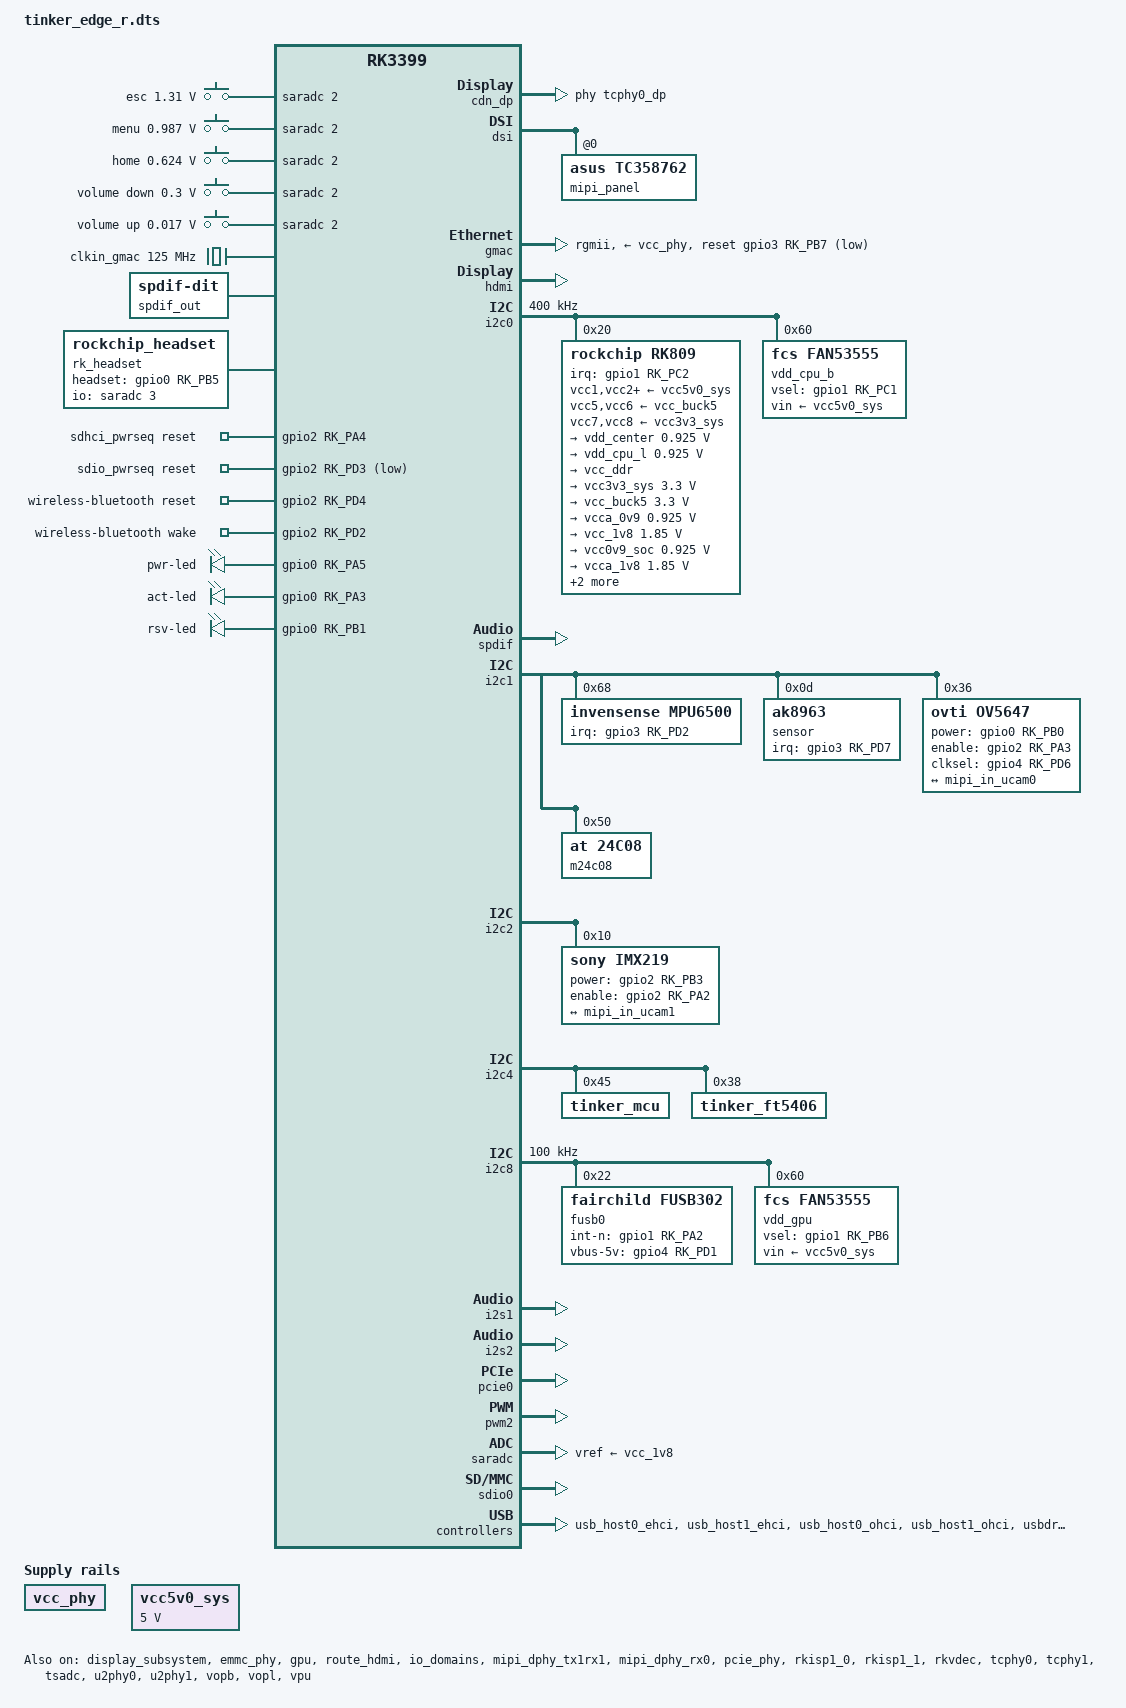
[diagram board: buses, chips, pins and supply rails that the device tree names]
// SPDX-License-Identifier: (GPL-2.0+ OR MIT)
// Copyright (c) 2018 Fuzhou Rockchip Electronics Co., Ltd

/dts-v1/;
#include <dt-bindings/gpio/gpio.h>
#include <dt-bindings/pinctrl/rockchip.h>
#include <dt-bindings/input/input.h>
#include <dt-bindings/display/drm_mipi_dsi.h>
#include <dt-bindings/sensor-dev.h>
#include <dt-bindings/pwm/pwm.h>
#include "rk3399pro.dtsi"
#include "rk3399-linux.dtsi"
#include "rk3399-opp.dtsi"
#include "rk3399-vop-clk-set.dtsi"

/ {
	compatible = "rockchip,rk3399pro-evb-v11-linux", "rockchip,rk3399pro";

	adc-keys {
		compatible = "adc-keys";
		io-channels = <&saradc 2>;
		io-channel-names = "buttons";
		poll-interval = <100>;
		keyup-threshold-microvolt = <1800000>;

		esc-key {
			linux,code = <KEY_ESC>;
			label = "esc";
			press-threshold-microvolt = <1310000>;
		};

		menu-key {
			linux,code = <KEY_MENU>;
			label = "menu";
			press-threshold-microvolt = <987000>;
		};

		home-key {
			linux,code = <KEY_HOME>;
			label = "home";
			press-threshold-microvolt = <624000>;
		};

		vol-down-key {
			linux,code = <KEY_VOLUMEDOWN>;
			label = "volume down";
			press-threshold-microvolt = <300000>;
		};

		vol-up-key {
			linux,code = <KEY_VOLUMEUP>;
			label = "volume up";
			press-threshold-microvolt = <17000>;
		};
	};

	clkin_gmac: external-gmac-clock {
		compatible = "fixed-clock";
		clock-frequency = <125000000>;
		clock-output-names = "clkin_gmac";
		#clock-cells = <0>;
	};

	fiq_debugger: fiq-debugger {
		compatible = "rockchip,fiq-debugger";
		rockchip,serial-id = <0>;
		rockchip,wake-irq = <0>;
		rockchip,irq-mode-enable = <0>;  /* If enable uart uses irq instead of fiq */
		rockchip,baudrate = <115200>;  /* Only 115200 and 1500000 */
		pinctrl-names = "default";
		pinctrl-0 = <&uart0_xfer>;
		interrupts = <GIC_SPI 150 IRQ_TYPE_LEVEL_HIGH 0>;
	};

	rk809-sound {
		compatible = "simple-audio-card";
		simple-audio-card,format = "i2s";
		simple-audio-card,name = "rockchip,rk809";
		simple-audio-card,mclk-fs = <256>;
		simple-audio-card,widgets =
			"Microphone", "Mic Jack",
			"Headphone", "Headphone Jack";
		simple-audio-card,routing =
			"Mic Jack", "MICBIAS1",
			"IN1P", "Mic Jack",
			"Headphone Jack", "HPOL",
			"Headphone Jack", "HPOR";
		simple-audio-card,cpu {
			sound-dai = <&i2s1>;
		};
		simple-audio-card,codec {
			sound-dai = <&rk809_codec>;
		};
	};

	spdif-sound {
		status = "okay";
		compatible = "simple-audio-card";
		simple-audio-card,name = "rockchip,spdif";
		simple-audio-card,cpu {
			sound-dai = <&spdif>;
		};
		simple-audio-card,codec {
			sound-dai = <&spdif_out>;
		};
	};

	spdif_out: spdif-out {
		status = "okay";
		compatible = "linux,spdif-dit";
		#sound-dai-cells = <0>;
	};

	hdmi_sound: hdmi-sound {
		status = "okay";
		compatible = "simple-audio-card";
		simple-audio-card,format = "i2s";
		simple-audio-card,mclk-fs = <256>;
		simple-audio-card,name = "rockchip,hdmi";

		simple-audio-card,cpu {
			sound-dai = <&i2s2>;
		};
		simple-audio-card,codec {
			sound-dai = <&hdmi>;
		};
	};

	rk_headset {
		compatible = "rockchip_headset";
		headset_gpio = <&gpio0 RK_PB5 GPIO_ACTIVE_HIGH>;
		pinctrl-names = "default";
		pinctrl-0 = <&hp_det>;
		io-channels = <&saradc 3>;
	};

	sdhci_pwrseq: sdhci-pwrseq {
		compatible = "mmc-pwrseq-emmc";
		pinctrl-0 = <&sdhci_reset>;
		pinctrl-names = "default";
		reset-gpios = <&gpio2 RK_PA4 GPIO_ACTIVE_HIGH>;
	};

	sdio_pwrseq: sdio-pwrseq {
		compatible = "mmc-pwrseq-simple";
		clocks = <&rk809 1>;
		clock-names = "ext_clock";
		pinctrl-names = "default";
		pinctrl-0 = <&wifi_enable_h>;

		/*
		 * On the module itself this is one of these (depending
		 * on the actual card populated):
		 * - SDIO_RESET_L_WL_REG_ON
		 * - PDN (power down when low)
		 */
		reset-gpios = <&gpio2 RK_PD3 GPIO_ACTIVE_LOW>;
	};

	vcc_phy: vcc-phy-regulator {
		compatible = "regulator-fixed";
		regulator-name = "vcc_phy";
		regulator-always-on;
		regulator-boot-on;
	};

	vcc5v0_sys: vccsys {
		compatible = "regulator-fixed";
		regulator-name = "vcc5v0_sys";
		regulator-always-on;
		regulator-boot-on;
		regulator-min-microvolt = <5000000>;
		regulator-max-microvolt = <5000000>;
	};

	wireless-wlan {
		compatible = "wlan-platdata";
		wifi_chip_type = "rtl8822be";
		status = "okay";
	};

	wireless-bluetooth {
		compatible = "bluetooth-platdata";
		clocks = <&rk809 1>;
		clock-names = "ext_clock";
		//uart_rts_gpios = <&gpio2 RK_PC3 GPIO_ACTIVE_LOW>;
		pinctrl-names = "default", "rts_gpio", <&bt_irq_gpio>;
		pinctrl-0 = <&uart0_rts>;
		//pinctrl-1 = <&uart0_gpios>;
		BT,reset_gpio    = <&gpio2 RK_PD4 GPIO_ACTIVE_HIGH>;
		BT,wake_gpio     = <&gpio2 RK_PD2 GPIO_ACTIVE_HIGH>;
		//BT,wake_host_irq = <&gpio0 RK_PA5 GPIO_ACTIVE_HIGH>;
		status = "okay";
	};

	gpio-leds {
		compatible = "gpio-leds";

		pwr-led {
			gpios = <&gpio0 RK_PA5 GPIO_ACTIVE_HIGH>;
			linux,default-trigger = "default-on";
			retain-state-suspended = <1>;
		};

		act-led {
			gpios = <&gpio0 RK_PA3 GPIO_ACTIVE_HIGH>;
			linux,default-trigger="mmc1";
		};

		rsv-led {
			gpios = <&gpio0 RK_PB1 GPIO_ACTIVE_HIGH>;
			linux,default-trigger="none";
		};
	};

};

&cdn_dp {
	status = "okay";
	extcon = <&fusb0>;
	phys = <&tcphy0_dp>;
};

&dsi {
	status = "okay";
	mipi_panel: mipi-panel {
		compatible ="asus,tc358762";
		reg = <0>;
		status = "okay";
	};
};

&dsi_in_vopb {
	status = "disabled";
};

&cpu_l0 {
	cpu-supply = <&vdd_cpu_l>;
};

&cpu_l1 {
	cpu-supply = <&vdd_cpu_l>;
};

&cpu_l2 {
	cpu-supply = <&vdd_cpu_l>;
};

&cpu_l3 {
	cpu-supply = <&vdd_cpu_l>;
};

&cpu_b0 {
	cpu-supply = <&vdd_cpu_b>;
};

&cpu_b1 {
	cpu-supply = <&vdd_cpu_b>;
};

&display_subsystem {
	status = "okay";
};

&dmc {
	status = "disabled";
	center-supply = <&vdd_center>;
	upthreshold = <40>;
	downdifferential = <20>;
	system-status-freq = <
		/*system status         freq(KHz)*/
		SYS_STATUS_NORMAL       856000
		SYS_STATUS_REBOOT       416000
		SYS_STATUS_SUSPEND      416000
		SYS_STATUS_VIDEO_1080P  416000
		SYS_STATUS_VIDEO_4K     856000
		SYS_STATUS_VIDEO_4K_10B 856000
		SYS_STATUS_PERFORMANCE  856000
		SYS_STATUS_BOOST        856000
		SYS_STATUS_DUALVIEW     856000
		SYS_STATUS_ISP          856000
	>;
	vop-pn-msch-readlatency = <
	/* plane_number  readlatency */
		0	0
		4	0x20
	>;
	vop-bw-dmc-freq = <
	/* min_bw(MB/s) max_bw(MB/s) freq(KHz) */
		763     1893     416000
		3013    99999    856000
	>;
	auto-min-freq = <416000>;
};

&dmc_opp_table {
	compatible = "operating-points-v2";

	opp-200000000 {
		opp-hz = /bits/ 64 <200000000>;
		opp-microvolt = <900000>;
		status = "disabled";
	};
	opp-300000000 {
		opp-hz = /bits/ 64 <300000000>;
		opp-microvolt = <900000>;
		status = "disabled";
	};
	opp-400000000 {
		opp-hz = /bits/ 64 <400000000>;
		opp-microvolt = <900000>;
		status = "disabled";
	};
	opp-416000000 {
		opp-hz = /bits/ 64 <416000000>;
		opp-microvolt = <900000>;
	};
	opp-528000000 {
		opp-hz = /bits/ 64 <528000000>;
		opp-microvolt = <900000>;
		status = "disabled";
	};
	opp-600000000 {
		opp-hz = /bits/ 64 <600000000>;
		opp-microvolt = <900000>;
		status = "disabled";
	};
	opp-800000000 {
		opp-hz = /bits/ 64 <800000000>;
		opp-microvolt = <900000>;
		status = "disabled";
	};
	opp-856000000 {
		opp-hz = /bits/ 64 <856000000>;
		opp-microvolt = <900000>;
	};
	opp-928000000 {
		opp-hz = /bits/ 64 <928000000>;
		opp-microvolt = <900000>;
		status = "disabled";
	};
	opp-1056000000 {
		opp-hz = /bits/ 64 <1056000000>;
		opp-microvolt = <900000>;
		status = "disabled";
	};
};

&dp_in_vopl {
	status = "disabled";
};

&emmc_phy {
	status = "okay";
};

&gmac {
	phy-supply = <&vcc_phy>;
	phy-mode = "rgmii";
	clock_in_out = "input";
	snps,reset-gpio = <&gpio3 RK_PB7 GPIO_ACTIVE_LOW>;
	snps,reset-active-low;
	snps,reset-delays-us = <0 16000 72000>;
	assigned-clocks = <&cru SCLK_RMII_SRC>;
	assigned-clock-parents = <&clkin_gmac>;
	pinctrl-names = "default";
	pinctrl-0 = <&rgmii_pins>;
	tx_delay = <0x23>;
	rx_delay = <0x22>;
	status = "okay";
};

&gpu {
	status = "okay";
	mali-supply = <&vdd_gpu>;
};

&hdmi {
	status = "okay";
	#sound-dai-cells = <0>;
	rockchip,phy-table =
		<74250000  0x8009 0x0004 0x0272>,
		<165000000 0x802b 0x0004 0x0209>,
		<297000000 0x8039 0x0005 0x028d>,
		<594000000 0x8039 0x0000 0x00f6>,
		<000000000 0x0000 0x0000 0x0000>;
};

&hdmi_in_vopl {
	status = "disabled";
};

&route_hdmi {
    status = "okay";
    connect = <&vopb_out_hdmi>;
};

&i2c0 {
	status = "okay";
	i2c-scl-rising-time-ns = <180>;
	i2c-scl-falling-time-ns = <30>;
	clock-frequency = <400000>;

	rk809: pmic@20 {
		compatible = "rockchip,rk809";
		reg = <0x20>;
		interrupt-parent = <&gpio1>;
		interrupts = <RK_PC2 IRQ_TYPE_LEVEL_LOW>;
		pinctrl-names = "default", "pmic-sleep",
				"pmic-power-off", "pmic-reset";
		pinctrl-0 = <&pmic_int_l>;
		pinctrl-1 = <&soc_slppin_slp>, <&rk809_slppin_slp>;
		pinctrl-2 = <&soc_slppin_gpio>, <&rk809_slppin_pwrdn>;
		pinctrl-3 = <&soc_slppin_gpio>, <&rk809_slppin_null>;
		rockchip,system-power-controller;
		pmic-reset-func = <0>;
		wakeup-source;
		#clock-cells = <1>;
		clock-output-names = "rk808-clkout1", "rk808-clkout2";

		vcc1-supply = <&vcc5v0_sys>;
		vcc2-supply = <&vcc5v0_sys>;
		vcc3-supply = <&vcc5v0_sys>;
		vcc4-supply = <&vcc5v0_sys>;
		vcc5-supply = <&vcc_buck5>;
		vcc6-supply = <&vcc_buck5>;
		vcc7-supply = <&vcc3v3_sys>;
		vcc8-supply = <&vcc3v3_sys>;
		vcc9-supply = <&vcc5v0_sys>;

		pwrkey {
			status = "okay";
		};

		rtc {
			status = "okay";
		};

		pinctrl_rk8xx: pinctrl_rk8xx {
			gpio-controller;
			#gpio-cells = <2>;

			rk809_slppin_null: rk809_slppin_null {
				pins = "gpio_slp";
				function = "pin_fun0";
			};

			rk809_slppin_slp: rk809_slppin_slp {
				pins = "gpio_slp";
				function = "pin_fun1";
			};

			rk809_slppin_pwrdn: rk809_slppin_pwrdn {
				pins = "gpio_slp";
				function = "pin_fun2";
			};

			rk809_slppin_rst: rk809_slppin_rst {
				pins = "gpio_slp";
				function = "pin_fun3";
			};
		};

		regulators {
			vdd_center: DCDC_REG1 {
				regulator-always-on;
				regulator-boot-on;
				regulator-min-microvolt = <925000>;
				regulator-max-microvolt = <925000>;
				regulator-initial-mode = <0x2>;
				regulator-name = "vdd_center";
				regulator-state-mem {
					regulator-off-in-suspend;
					regulator-suspend-microvolt = <925000>;
				};
			};

			vdd_cpu_l: DCDC_REG2 {
				regulator-always-on;
				regulator-boot-on;
				regulator-min-microvolt = <925000>;
				regulator-max-microvolt = <925000>;
				regulator-ramp-delay = <6001>;
				regulator-initial-mode = <0x2>;
				regulator-name = "vdd_cpu_l";
				regulator-state-mem {
					regulator-off-in-suspend;
				};
			};

			vcc_ddr: DCDC_REG3 {
				regulator-always-on;
				regulator-boot-on;
				regulator-name = "vcc_ddr";
				regulator-initial-mode = <0x2>;
				regulator-state-mem {
					regulator-on-in-suspend;
				};
			};

			vcc3v3_sys: DCDC_REG4 {
				regulator-always-on;
				regulator-boot-on;
				regulator-min-microvolt = <3300000>;
				regulator-max-microvolt = <3300000>;
				regulator-initial-mode = <0x2>;
				regulator-name = "vcc3v3_sys";
				regulator-state-mem {
					regulator-on-in-suspend;
					regulator-suspend-microvolt = <3300000>;
				};
			};

			vcc_buck5: DCDC_REG5 {
				regulator-always-on;
				regulator-boot-on;
				regulator-min-microvolt = <3300000>;
				regulator-max-microvolt = <3300000>;
				regulator-name = "vcc_buck5";
				regulator-state-mem {
					regulator-on-in-suspend;
					regulator-suspend-microvolt = <3300000>;
				};
			};

			vcca_0v9: LDO_REG1 {
				regulator-always-on;
				regulator-boot-on;
				regulator-min-microvolt = <925000>;
				regulator-max-microvolt = <925000>;
				regulator-name = "vcca_0v9";
				regulator-state-mem {
					regulator-off-in-suspend;
				};
			};

			vcc_1v8: LDO_REG2 {
				regulator-always-on;
				regulator-boot-on;
				regulator-min-microvolt = <1850000>;
				regulator-max-microvolt = <1850000>;

				regulator-name = "vcc_1v8";
				regulator-state-mem {
					regulator-on-in-suspend;
					regulator-suspend-microvolt = <1850000>;
				};
			};

			vcc0v9_soc: LDO_REG3 {
				regulator-always-on;
				regulator-boot-on;
				regulator-min-microvolt = <925000>;
				regulator-max-microvolt = <925000>;

				regulator-name = "vcc0v9_soc";
				regulator-state-mem {
					regulator-on-in-suspend;
					regulator-suspend-microvolt = <925000>;
				};
			};

			vcca_1v8: LDO_REG4 {
				regulator-always-on;
				regulator-boot-on;
				regulator-min-microvolt = <1850000>;
				regulator-max-microvolt = <1850000>;

				regulator-name = "vcca_1v8";
				regulator-state-mem {
					regulator-off-in-suspend;
				};
			};

			vdd1v5_dvp: LDO_REG5 {
				regulator-always-on;
				regulator-boot-on;
				regulator-min-microvolt = <1850000>;
				regulator-max-microvolt = <1850000>;

				regulator-name = "vdd1v5_dvp";
				regulator-state-mem {
					regulator-off-in-suspend;
				};
			};

			vcc_1v5: LDO_REG6 {
				regulator-always-on;
				regulator-boot-on;
				regulator-min-microvolt = <1550000>;
				regulator-max-microvolt = <1550000>;

				regulator-name = "vcc_1v5";
				regulator-state-mem {
					regulator-off-in-suspend;
				};
			};

			vcc_3v0: LDO_REG7 {
				regulator-always-on;
				regulator-boot-on;
				regulator-min-microvolt = <3075000>;
				regulator-max-microvolt = <3075000>;

				regulator-name = "vcc_3v0";
				regulator-state-mem {
					regulator-off-in-suspend;
				};
			};

			vccio_sd: LDO_REG8 {
				regulator-always-on;
				regulator-boot-on;
				regulator-min-microvolt = <1850000>;
				regulator-max-microvolt = <3375000>;

				regulator-name = "vccio_sd";
				regulator-state-mem {
					regulator-off-in-suspend;
				};
			};

			vcc_sd: LDO_REG9 {
				regulator-always-on;
				regulator-boot-on;
				regulator-min-microvolt = <3375000>;
				regulator-max-microvolt = <3375000>;

				regulator-name = "vcc_sd";
				regulator-state-mem {
					regulator-off-in-suspend;
				};
			};

			vcc5v0_usb: SWITCH_REG1 {
				regulator-min-microvolt = <5000000>;
				regulator-max-microvolt = <5000000>;

				regulator-name = "vcc5v0_usb";
				regulator-state-mem {
					regulator-on-in-suspend;
					regulator-suspend-microvolt = <5000000>;
				};
			};

			vccio_3v3: SWITCH_REG2 {
				regulator-always-on;
				regulator-boot-on;
				regulator-min-microvolt = <3300000>;
				regulator-max-microvolt = <3300000>;

				regulator-name = "vccio_3v3";
				regulator-state-mem {
					regulator-off-in-suspend;
				};
			};
		};

		rk809_codec: codec {
			#sound-dai-cells = <0>;
			compatible = "rockchip,rk809-codec", "rockchip,rk817-codec";
			clocks = <&cru SCLK_I2S_8CH_OUT>;
			clock-names = "mclk";
			pinctrl-names = "default";
			pinctrl-0 = <&i2s_8ch_mclk>;
			hp-volume = <20>;
			spk-volume = <3>;
			status = "okay";
		};
	};

	vdd_cpu_b: fan53555@60 {
		compatible = "fcs,fan53555";
		reg = <0x60>;
		vin-supply = <&vcc5v0_sys>;
		regulator-compatible = "fan53555-reg";
		pinctrl-0 = <&vsel1_gpio>;
		vsel-gpios = <&gpio1 RK_PC1 GPIO_ACTIVE_HIGH>;
		regulator-name = "vdd_cpu_b";
		regulator-min-microvolt = <925000>;
		regulator-max-microvolt = <925000>;
		regulator-ramp-delay = <1000>;
		fcs,suspend-voltage-selector = <1>;
		regulator-always-on;
		regulator-boot-on;
		regulator-initial-state = <3>;
		regulator-state-mem {
			regulator-off-in-suspend;
		};
	};

	bq25700: bq25700@6b {
		compatible = "ti,bq25703";
		reg = <0x6b>;
		extcon = <&fusb0>;
		interrupt-parent = <&gpio1>;
		interrupts = <RK_PA1 IRQ_TYPE_LEVEL_LOW>;
		pinctrl-names = "default";
		pinctrl-0 = <&charger_ok_int>;
		ti,charge-current = <1500000>;
		ti,max-charge-voltage = <8704000>;
		ti,max-input-voltage = <20000000>;
		ti,max-input-current = <6000000>;
		ti,input-current-sdp = <500000>;
		ti,input-current-dcp = <2000000>;
		ti,input-current-cdp = <2000000>;
		ti,input-current-dc = <2000000>;
		ti,minimum-sys-voltage = <6700000>;
		ti,otg-voltage = <5000000>;
		ti,otg-current = <500000>;
		ti,input-current = <500000>;
		pd-charge-only = <0>;
		status = "disabled";
	};
};

&spdif {
	status = "okay";
	pinctrl-0 = <&spdif_bus>;
	i2c-scl-rising-time-ns = <450>;
	i2c-scl-falling-time-ns = <15>;
	#sound-dai-cells = <0>;
};

&i2c1 {
	status = "okay";
	i2c-scl-rising-time-ns = <140>;
	i2c-scl-falling-time-ns = <30>;

	mpu6500@68 {
		status = "okay";
		compatible = "invensense,mpu6500";
		reg = <0x68>;
		irq-gpio = <&gpio3 RK_PD2 IRQ_TYPE_EDGE_RISING>;
		mpu-int_config = <0x10>;
		mpu-level_shifter = <0>;
		mpu-orientation = <0 1 0 1 0 0 0 0 1>;
		orientation-x= <1>;
		orientation-y= <0>;
		orientation-z= <0>;
		mpu-debug = <1>;
	};

	sensor@d {
		status = "okay";
		compatible = "ak8963";
		reg = <0x0d>;
		type = <SENSOR_TYPE_COMPASS>;
		irq-gpio = <&gpio3 RK_PD7 IRQ_TYPE_EDGE_RISING>;
		irq_enable = <0>;
		poll_delay_ms = <30>;
		layout = <3>;
	};

	ov5647: ov5647@36 {
		compatible = "ovti,ov5647";
		status = "okay";
		reg = <0x36>;
		clocks = <&cru SCLK_TESTCLKOUT2>;
		clock-names = "xvclk";

		/* conflict with csi-ctl-gpios */
		power-gpios = <&gpio0 RK_PB0 GPIO_ACTIVE_HIGH>;
		enable-gpios = <&gpio2 RK_PA3 GPIO_ACTIVE_HIGH>;
		clksel-gpios = <&gpio4 RK_PD6 GPIO_ACTIVE_HIGH>;
		pinctrl-names = "camera_default";
		pinctrl-0 = <&test_clkout2>;
		rockchip,camera-module-index = <0>;
		rockchip,camera-module-facing = "back";
		rockchip,camera-module-name = "RPi_v13";
		rockchip,camera-module-lens-name = "default";

		port {
			ucam_out0: endpoint {
				remote-endpoint = <&mipi_in_ucam0>;
				data-lanes = <1 2>;
			};
		};
	};

	m24c08@50 {
		compatible = "at,24c08";
		reg = <0x50>;
	};
};

&i2c2 {
	status = "okay";
	i2c-scl-rising-time-ns = <140>;
	i2c-scl-falling-time-ns = <30>;

	imx219: imx219@10 {
		compatible = "sony,imx219";
		status = "okay";
		reg = <0x10>;
		clocks = <&cru SCLK_CIF_OUT>;
		clock-names = "xvclk";

		/* conflict with csi-ctl-gpios */
		power-gpios = <&gpio2 RK_PB3 GPIO_ACTIVE_HIGH>;
		enable-gpios = <&gpio2 RK_PA2 GPIO_ACTIVE_HIGH>;
		rockchip,camera-module-index = <0>;
		rockchip,camera-module-facing = "back";
		rockchip,camera-module-name = "RPi_v21";
		rockchip,camera-module-lens-name = "default";

		port {
			ucam_out1: endpoint {
				remote-endpoint = <&mipi_in_ucam1>;
				data-lanes = <1 2>;
			};
		};
	};
};

&i2c4 {
	status = "okay";
	i2c-scl-rising-time-ns = <345>;
	i2c-scl-falling-time-ns = <11>;

	tinker_mcu: tinker_mcu@45 {
		compatible = "tinker_mcu";
		reg = <0x45>;
	};

	tinker_ft5406: tinker_ft5406@38 {
		compatible = "tinker_ft5406";
		reg = <0x38>;
	};
};

&i2c6 {
	status = "disable";
};

&i2c7 {
	status = "disable";
};

&i2c8 {
	status = "okay";
	i2c-scl-rising-time-ns = <345>;
	i2c-scl-falling-time-ns = <11>;
	clock-frequency = <100000>;

	fusb0: fusb30x@22 {
		compatible = "fairchild,fusb302";
		reg = <0x22>;
		pinctrl-names = "default";
		pinctrl-0 = <&fusb0_int>;
		int-n-gpios = <&gpio1 RK_PA2 GPIO_ACTIVE_HIGH>;
		vbus-5v-gpios = <&gpio4 RK_PD1 GPIO_ACTIVE_HIGH>;
		status = "okay";
	};

	vdd_gpu: fan53555@60 {
		compatible = "fcs,fan53555";
		reg = <0x60>;
		vin-supply = <&vcc5v0_sys>;
		regulator-compatible = "fan53555-reg";
		pinctrl-0 = <&vsel2_gpio>;
		vsel-gpios = <&gpio1 RK_PB6 GPIO_ACTIVE_HIGH>;
		regulator-name = "vdd_gpu";
		regulator-min-microvolt = <925000>;
		regulator-max-microvolt = <925000>;
		regulator-ramp-delay = <1000>;
		fcs,suspend-voltage-selector = <1>;
		regulator-always-on;
		regulator-boot-on;
		regulator-initial-state = <3>;
		regulator-state-mem {
			regulator-off-in-suspend;
		};
	};

};

&i2s1 {
	status = "okay";
	#sound-dai-cells = <0>;
};

&i2s2 {
	#sound-dai-cells = <0>;
	status = "okay";
};

&io_domains {
	status = "okay";
	bt656-supply = <&vcca_1v8>;
	audio-supply = <&vcca_1v8>;
	sdmmc-supply = <&vccio_sd>;
	gpio1830-supply = <&vcc_3v0>;
};

&isp0_mmu {
	status = "okay";
};

&isp1_mmu {
	status = "okay";
};

&mipi_dphy_tx1rx1 {
	status = "okay";

	ports {
		#address-cells = <1>;
		#size-cells = <0>;

		port@0 {
			reg = <0>;
			#address-cells = <1>;
			#size-cells = <0>;

			mipi_in_ucam1: endpoint@1 {
				reg = <1>;
				/* Unlinked camera */
				remote-endpoint = <&ucam_out1>;
				data-lanes = <1 2>;
			};
		};

		port@1 {
			reg = <1>;
			#address-cells = <1>;
			#size-cells = <0>;

			dphy_tx1rx1_out: endpoint@0 {
				reg = <0>;
				remote-endpoint = <&isp1_mipi_in>;
			};
		};
	};
};

&mipi_dphy_rx0 {
	status = "okay";

	ports {
		#address-cells = <1>;
		#size-cells = <0>;

		port@0 {
			reg = <0>;
			#address-cells = <1>;
			#size-cells = <0>;

			mipi_in_ucam0: endpoint@1 {
				reg = <1>;
				remote-endpoint = <&ucam_out0>;
				data-lanes = <1 2>;
			};
		};

		port@1 {
			reg = <1>;
			#address-cells = <1>;
			#size-cells = <0>;

			dphy_rx0_out: endpoint@0 {
				reg = <0>;
				remote-endpoint = <&isp0_mipi_in>;
			};
		};
	};
};

&pcie_phy {
	status = "okay";
};

&pcie0 {
	status = "okay";
};

&pmu_io_domains {
	status = "okay";
	pmu1830-supply = <&vcc_1v8>;
};

&pwm2 {
	status = "okay";
};

&rkisp1_0 {
	status = "okay";

	port {
		#address-cells = <1>;
		#size-cells = <0>;

		isp0_mipi_in: endpoint@0 {
			reg = <0>;
			remote-endpoint = <&dphy_rx0_out>;
		};
	};
};

&rkisp1_1 {
	status = "okay";

	port {
		#address-cells = <1>;
		#size-cells = <0>;

		isp1_mipi_in: endpoint@0 {
			reg = <0>;
			remote-endpoint = <&dphy_tx1rx1_out>;
		};
	};
};

&rkvdec {
	status = "okay";
	/* 0 means ion, 1 means drm */
	//allocator = <0>;
};

&rockchip_suspend {
	status = "okay";
	rockchip,sleep-debug-en = <1>;
	rockchip,sleep-mode-config = <
		(0
		| RKPM_SLP_ARMPD
		| RKPM_SLP_PERILPPD
		| RKPM_SLP_DDR_RET
		| RKPM_SLP_PLLPD
		| RKPM_SLP_CENTER_PD
		| RKPM_SLP_OSC_DIS
		| RKPM_SLP_AP_PWROFF
		)
	>;
	rockchip,wakeup-config = <RKPM_GPIO_WKUP_EN>;
	rockchip,pwm-regulator-config = <PWM2_REGULATOR_EN>;
	rockchip,power-ctrl =
		<&gpio1 RK_PC1 GPIO_ACTIVE_HIGH>,
		<&gpio1 RK_PB6 GPIO_ACTIVE_HIGH>;
};

&saradc {
	status = "okay";
	vref-supply = <&vcc_1v8>;
};

&sdhci {
	mmc-pwrseq = <&sdhci_pwrseq>;
};

&sdio0 {
	status = "okay";
};

&sdmmc {
	sd-uhs-sdr12;
	sd-uhs-sdr25;
	sd-uhs-sdr50;
	sd-uhs-sdr104;
};

&spi1 {
	status = "disable";
	max-freq = <48000000>; /* spi internal clk, don't modify */
	spi_dev@0 {
		compatible = "rockchip,spidev";
		reg = <0>;
		spi-max-frequency = <48000000>;
		spi-lsb-first;
	};
};

&spi5 {
	status = "disable";
	max-freq = <48000000>;   //spi internal clk, don't modify
	spi_dev@0 {
		compatible = "rockchip,spidev";
		reg = <0>;   //chip select  0:cs0  1:cs1
		id = <0>;
		spi-max-frequency = <48000000>;   //spi output clock
	};

};

&tcphy0 {
	extcon = <&fusb0>;
	status = "okay";
};

&tcphy1 {
	status = "okay";
};

&tsadc {
	rockchip,hw-tshut-mode = <1>; /* tshut mode 0:CRU 1:GPIO */
	rockchip,hw-tshut-polarity = <1>; /* tshut polarity 0:LOW 1:HIGH */
	status = "okay";
};

&u2phy0 {
	status = "okay";
	extcon = <&fusb0>;

	u2phy0_otg: otg-port {
		status = "okay";
	};

	u2phy0_host: host-port {
		phy-supply = <&vcc5v0_usb>;
		status = "okay";
	};
};

&u2phy1 {
	status = "okay";

	u2phy1_otg: otg-port {
		status = "okay";
	};

	u2phy1_host: host-port {
		phy-supply = <&vcc5v0_usb>;
		status = "okay";
	};
};

&uart0 {
	status = "disable";
};

&uart4 {
	status = "disable";
};

&usb_host0_ehci {
	status = "okay";
};

&usb_host1_ehci {
	status = "okay";
};
&usb_host0_ohci {
	status = "okay";
};

&usb_host1_ohci {
	status = "okay";
};

&usbdrd3_0 {
	extcon = <&fusb0>;
	status = "okay";
};

&usbdrd3_1 {
	status = "okay";
};

&usbdrd_dwc3_0 {
	status = "okay";
};

&usbdrd_dwc3_1 {
	status = "okay";
};

&vopb {
	status = "okay";
};

&vopb_mmu {
	status = "okay";
};

&vopl {
	status = "okay";
};

&vopl_mmu {
	status = "okay";
};

&vpu {
	status = "okay";
	/* 0 means ion, 1 means drm */
	//allocator = <0>;
};

&pinctrl {
	pinctrl-names = "default";
	pinctrl-0 = <&npu_ref_clk>;

	bq2570 {
		charger_ok_int: charger-ok-int {
			rockchip,pins =
				<1 RK_PA1 0 &pcfg_pull_up>;
			};
	};

	fusb30x {
		fusb0_int: fusb0-int {
			rockchip,pins =
				<1 RK_PA2 0 &pcfg_pull_up>;
			};
	};

	headphone {
		hp_det: hp-det {
			rockchip,pins =
				<0 RK_PB5 0 &pcfg_pull_up>;
		};
	};

	lcd_rst {
		lcd_rst_gpio: lcd-rst-gpio {
			rockchip,pins =
				<3 RK_PA4 0 &pcfg_pull_none>;
		};
	};

	npu_clk {
		npu_ref_clk: npu-ref-clk {
		     rockchip,pins =
			     <0 RK_PA2 1 &pcfg_pull_none>;
	     };
	};

	pmic {
		pmic_int_l: pmic-int-l {
			rockchip,pins =
				<1 RK_PC2 0 &pcfg_pull_up>;
		};
		vsel1_gpio: vsel1-gpio {
			rockchip,pins =
				<1 RK_PC1 0 &pcfg_pull_down>;
		};
		vsel2_gpio: vsel2-gpio {
			rockchip,pins =
				<1 RK_PB6 0 &pcfg_pull_down>;
		};

		soc_slppin_gpio: soc-slppin-gpio {
			rockchip,pins =
				<1 RK_PA5 0 &pcfg_output_low>;
		};

		soc_slppin_slp: soc-slppin-slp {
			rockchip,pins =
				<1 RK_PA5 1 &pcfg_pull_down>;
		};

		soc_slppin_rst: soc-slppin-rst {
			rockchip,pins =
				<1 RK_PA5 2 &pcfg_pull_none>;
		};
	};

	sdhci-pwrseq {
		sdhci_reset: sdhci-reset {
			rockchip,pins = <2 4 RK_FUNC_GPIO &pcfg_pull_none>;
		};
	};

	sdio-pwrseq {
		wifi_enable_h: wifi-enable-h {
			rockchip,pins =
				<2 RK_PD3 0 &pcfg_pull_none>;
		};
	};

	sdmmc {
		sdmmc_bus1: sdmmc-bus1 {
			rockchip,pins =
				<4 8 RK_FUNC_1 &pcfg_pull_up_10ma>;
		};

		sdmmc_bus4: sdmmc-bus4 {
			rockchip,pins =
				<4 8 RK_FUNC_1 &pcfg_pull_up_10ma>,
				<4 9 RK_FUNC_1 &pcfg_pull_up_10ma>,
				<4 10 RK_FUNC_1 &pcfg_pull_up_10ma>,
				<4 11 RK_FUNC_1 &pcfg_pull_up_10ma>;
		};

		sdmmc_clk: sdmmc-clk {
			rockchip,pins =
				<4 12 RK_FUNC_1 &pcfg_pull_none_10ma>;
		};

		sdmmc_cmd: sdmmc-cmd {
			rockchip,pins =
				<4 13 RK_FUNC_1 &pcfg_pull_up_10ma>;
		};
	};

	tp_irq {
		tp_irq_gpio: tp-irq-gpio {
			rockchip,pins =
				<3 RK_PB0 0 &pcfg_pull_up>;
		};
	};

	wireless-bluetooth {
		bt_irq_gpio: bt-irq-gpio {
			rockchip,pins =
				<0 RK_PA5 0 &pcfg_pull_down>;
		};

		//uart0_gpios: uart0-gpios {
		//	rockchip,pins =
		//		<2 RK_PC3 0 &pcfg_pull_none>;
		//};
	};

	isp {
		test_clkout2: cif-test_clkout2 {
			rockchip,pins =
				/* test_clkout2 */
				<0 8 RK_FUNC_3 &pcfg_pull_none>;
		};
	};
};

/* DON'T PUT ANYTHING BELOW HERE.  PUT IT ABOVE PINCTRL */
/* DON'T PUT ANYTHING BELOW HERE.  PUT IT ABOVE PINCTRL */
/* DON'T PUT ANYTHING BELOW HERE.  PUT IT ABOVE PINCTRL */
